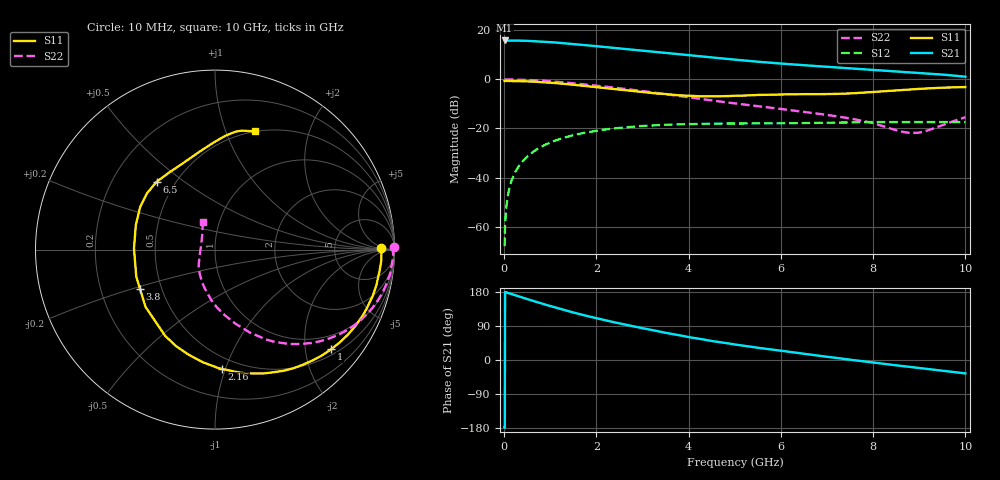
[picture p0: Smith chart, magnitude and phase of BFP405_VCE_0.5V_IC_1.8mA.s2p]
! Infineon Technologies  Discrete & RF Semiconductors
! BFP405
! VCE =  0.5 V,  IC =  1.8 mA
! Common Emitter S-Parameters:  Jan 2016
# GHz  S  MA  R  50
!  f  S11  S21  S12  S22
! GHz  MAG  ANG  MAG  ANG  MAG  ANG  MAG  ANG
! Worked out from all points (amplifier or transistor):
!   233 points, 10 MHz to 10 GHz, reference 50 ohm
!   highest |S21| = 15.8 dB at 10 MHz (marker M1)
!   |S21| within 3 dB of that: start of sweep to 2.364 GHz
!   unconditionally stable (mu >= 1): start of sweep to 10.04191 MHz; 4.347 GHz to end of sweep
!   at 200 MHz: K = 0.04, MSG = 27.6 dB, |S12| = -39.5 dB
!   at 1.74 GHz: K = 0.35, MSG = 17.9 dB, |S12| = -21.8 dB
!   at 10 GHz: K = 1.77, MAG = 4.1 dB, |S12| = -17.4 dB
!   S11 on the Smith chart (normalised r, x): 10 MHz: 25, +3; 1 GHz: 0.63, -2.58; 2.16 GHz: 0.41, -0.97; 3.8 GHz: 0.38, -0.21; 6.5 GHz: 0.40, +0.40; 10 GHz: 0.50, +1.27
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0.01  0.9226 0.5  6.177 -176.9  0.0004 18.8  0.9976 0.7
0.02  0.9282 -0.6  6.099 179.3  0.0011 90.8  0.9901 0.0
0.055  0.9274 -2.3  6.105 178.2  0.0029 87.7  0.9931 -1.2
0.11  0.928 -4.3  6.151 175.7  0.0059 88.0  0.9928 -2.8
0.19  0.9242 -7.7  6.14 172.8  0.0101 85.4  0.9895 -4.8
0.5  0.909 -20.3  6.069 160.9  0.0267 78.2  0.9699 -12.6
0.8  0.8796 -32.5  5.877 149.6  0.042 70.9  0.9376 -19.9
1  0.8533 -40.5  5.709 142.3  0.0516 66.0  0.9099 -24.6
1.32  0.8039 -53.4  5.408 131.3  0.0656 58.5  0.859 -31.6
1.68  0.7447 -67.6  5.047 119.7  0.0794 50.6  0.7971 -38.9
2.16  0.6662 -86.6  4.562 105.8  0.094 41.2  0.7147 -47.3
2.74  0.5858 -109.6  4.044 90.4  0.1074 31.1  0.6177 -56.5
3  0.5548 -120.1  3.837 83.8  0.1122 27.0  0.576 -60.4
3.4  0.5068 -136.1  3.522 74.3  0.1174 21.0  0.5123 -66.0
3.8  0.4715 -152.4  3.234 65.3  0.1211 15.6  0.4548 -71.5
4.5  0.4515 179.1  2.793 50.2  0.1252 7.4  0.3698 -81.5
5.1  0.4636 160.2  2.463 39.2  0.126 1.8  0.3144 -89.1
6.5  0.4986 130.7  1.941 16.4  0.1284 -7.5  0.2175 -106.2
6.8  0.4975 124.3  1.85 11.8  0.1295 -9.3  0.1994 -110.3
8.4  0.5861 92.4  1.461 -12.6  0.1347 -19.9  0.0979 -152.6
9  0.6375 84.7  1.342 -21.1  0.1347 -23.4  0.0819 159.4
10  0.6954 71.3  1.129 -35.4  0.1343 -28.0  0.169 113.7
